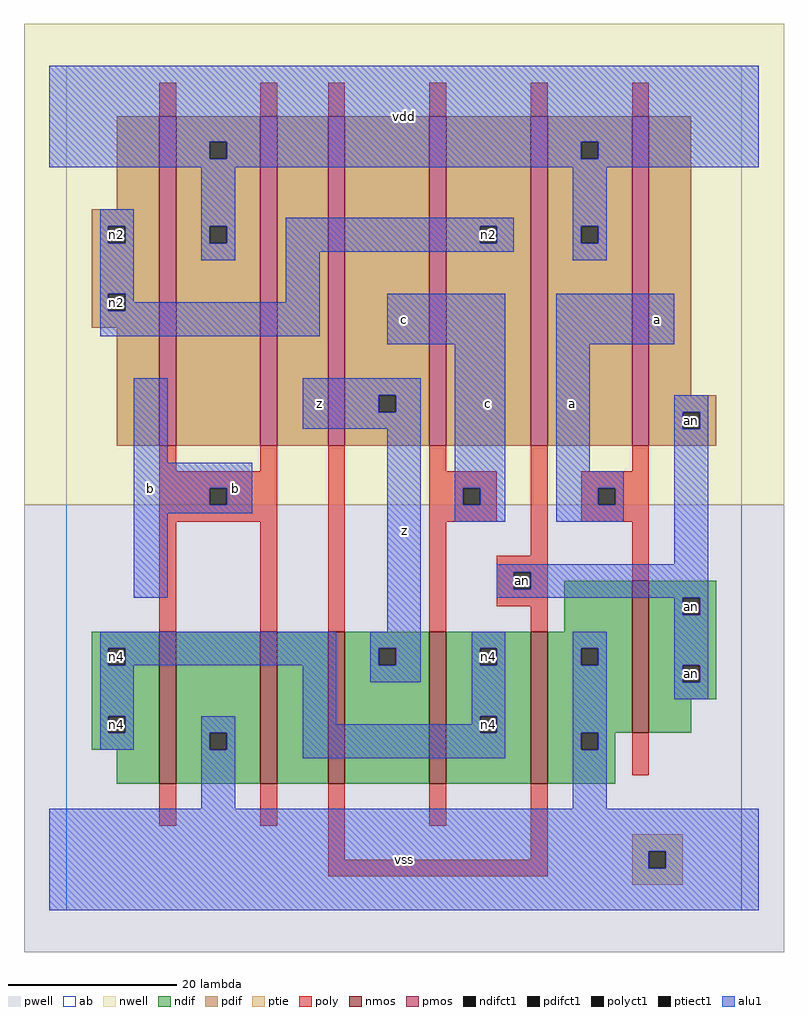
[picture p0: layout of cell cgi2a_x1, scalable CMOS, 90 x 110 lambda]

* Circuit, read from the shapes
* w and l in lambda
.subckt cgi2a_x1 a an b c n2 n4 vdd vss z
M1 vss b n4 vss nfet w=18 l=2
M2 n1 b vss vss nfet w=18 l=2
M3 z an n1 vss nfet w=18 l=2
M4 n4 c z vss nfet w=18 l=2
M5 vss an n4 vss nfet w=18 l=2
M6 an a vss vss nfet w=18 l=2
M7 vdd b n2 n3 pfet w=39 l=2
M8 n5 b vdd n3 pfet w=39 l=2
M9 z an n5 n3 pfet w=39 l=2
M10 n2 c z n3 pfet w=39 l=2
M11 vdd an n2 n3 pfet w=39 l=2
M12 an a vdd n3 pfet w=39 l=2
.ends

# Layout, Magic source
magic
tech scmos
<< ab >>
rect 0 0 80 100
<< nwell >>
rect -5 48 85 105
<< pwell >>
rect -5 -5 85 48
<< poly >>
rect 11 94 13 98
rect 23 94 25 98
rect 31 94 33 98
rect 43 94 45 98
rect 55 94 57 98
rect 67 94 69 98
rect 11 52 13 55
rect 23 52 25 55
rect 11 50 25 52
rect 11 48 17 50
rect 19 48 25 50
rect 11 46 25 48
rect 11 33 13 46
rect 23 33 25 46
rect 31 33 33 55
rect 43 52 45 55
rect 43 50 51 52
rect 43 48 47 50
rect 49 48 51 50
rect 43 46 51 48
rect 43 33 45 46
rect 55 42 57 55
rect 67 52 69 55
rect 61 50 69 52
rect 61 48 63 50
rect 65 48 69 50
rect 61 46 69 48
rect 51 40 57 42
rect 51 38 53 40
rect 55 38 57 40
rect 67 39 69 46
rect 51 36 57 38
rect 55 33 57 36
rect 67 16 69 21
rect 11 10 13 15
rect 23 10 25 15
rect 31 6 33 15
rect 43 10 45 15
rect 55 6 57 15
rect 31 4 57 6
<< ndif >>
rect 59 33 67 39
rect 3 31 11 33
rect 3 29 5 31
rect 7 29 11 31
rect 3 23 11 29
rect 3 21 5 23
rect 7 21 11 23
rect 3 19 11 21
rect 6 15 11 19
rect 13 21 23 33
rect 13 19 17 21
rect 19 19 23 21
rect 13 15 23 19
rect 25 15 31 33
rect 33 31 43 33
rect 33 29 37 31
rect 39 29 43 31
rect 33 15 43 29
rect 45 31 55 33
rect 45 29 49 31
rect 51 29 55 31
rect 45 23 55 29
rect 45 21 49 23
rect 51 21 55 23
rect 45 15 55 21
rect 57 31 67 33
rect 57 29 61 31
rect 63 29 67 31
rect 57 21 67 29
rect 69 37 77 39
rect 69 35 73 37
rect 75 35 77 37
rect 69 29 77 35
rect 69 27 73 29
rect 75 27 77 29
rect 69 25 77 27
rect 69 21 74 25
rect 57 19 61 21
rect 63 19 65 21
rect 57 15 65 19
<< pdif >>
rect 6 83 11 94
rect 3 81 11 83
rect 3 79 5 81
rect 7 79 11 81
rect 3 73 11 79
rect 3 71 5 73
rect 7 71 11 73
rect 3 69 11 71
rect 6 55 11 69
rect 13 91 23 94
rect 13 89 17 91
rect 19 89 23 91
rect 13 81 23 89
rect 13 79 17 81
rect 19 79 23 81
rect 13 55 23 79
rect 25 55 31 94
rect 33 61 43 94
rect 33 59 37 61
rect 39 59 43 61
rect 33 55 43 59
rect 45 81 55 94
rect 45 79 49 81
rect 51 79 55 81
rect 45 55 55 79
rect 57 91 67 94
rect 57 89 61 91
rect 63 89 67 91
rect 57 81 67 89
rect 57 79 61 81
rect 63 79 67 81
rect 57 55 67 79
rect 69 61 74 94
rect 69 59 77 61
rect 69 57 73 59
rect 75 57 77 59
rect 69 55 77 57
<< alu1 >>
rect -2 91 82 100
rect -2 89 17 91
rect 19 89 61 91
rect 63 89 82 91
rect -2 88 82 89
rect 4 81 8 83
rect 4 79 5 81
rect 7 79 8 81
rect 4 73 8 79
rect 16 81 20 88
rect 16 79 17 81
rect 19 79 20 81
rect 16 77 20 79
rect 26 81 53 82
rect 26 79 49 81
rect 51 79 53 81
rect 26 78 53 79
rect 60 81 64 88
rect 60 79 61 81
rect 63 79 64 81
rect 4 71 5 73
rect 7 72 8 73
rect 26 72 30 78
rect 60 77 64 79
rect 7 71 30 72
rect 4 68 30 71
rect 38 67 52 73
rect 8 53 12 63
rect 28 61 42 63
rect 28 59 37 61
rect 39 59 42 61
rect 28 57 42 59
rect 8 50 22 53
rect 8 48 17 50
rect 19 48 22 50
rect 8 47 22 48
rect 8 37 12 47
rect 38 33 42 57
rect 46 50 52 67
rect 46 48 47 50
rect 49 48 52 50
rect 46 46 52 48
rect 58 67 72 73
rect 58 52 62 67
rect 72 59 76 61
rect 72 57 73 59
rect 75 57 76 59
rect 58 50 66 52
rect 58 48 63 50
rect 65 48 66 50
rect 58 46 66 48
rect 72 41 76 57
rect 51 40 76 41
rect 51 38 53 40
rect 55 38 76 40
rect 51 37 76 38
rect 72 35 73 37
rect 75 35 76 37
rect 4 31 32 33
rect 4 29 5 31
rect 7 29 32 31
rect 4 23 8 29
rect 4 21 5 23
rect 7 21 8 23
rect 4 19 8 21
rect 16 21 20 23
rect 16 19 17 21
rect 19 19 20 21
rect 16 12 20 19
rect 28 22 32 29
rect 36 31 42 33
rect 36 29 37 31
rect 39 29 42 31
rect 36 27 42 29
rect 48 31 52 33
rect 48 29 49 31
rect 51 29 52 31
rect 48 23 52 29
rect 48 22 49 23
rect 28 21 49 22
rect 51 21 52 23
rect 28 18 52 21
rect 60 31 64 33
rect 60 29 61 31
rect 63 29 64 31
rect 60 21 64 29
rect 72 29 76 35
rect 72 27 73 29
rect 75 27 76 29
rect 72 25 76 27
rect 60 19 61 21
rect 63 19 64 21
rect 60 12 64 19
rect -2 7 82 12
rect -2 5 69 7
rect 71 5 82 7
rect -2 0 82 5
<< ptie >>
rect 67 7 73 9
rect 67 5 69 7
rect 71 5 73 7
rect 67 3 73 5
<< nmos >>
rect 11 15 13 33
rect 23 15 25 33
rect 31 15 33 33
rect 43 15 45 33
rect 55 15 57 33
rect 67 21 69 39
<< pmos >>
rect 11 55 13 94
rect 23 55 25 94
rect 31 55 33 94
rect 43 55 45 94
rect 55 55 57 94
rect 67 55 69 94
<< polyct1 >>
rect 17 48 19 50
rect 47 48 49 50
rect 63 48 65 50
rect 53 38 55 40
<< ndifct1 >>
rect 5 29 7 31
rect 5 21 7 23
rect 17 19 19 21
rect 37 29 39 31
rect 49 29 51 31
rect 49 21 51 23
rect 61 29 63 31
rect 73 35 75 37
rect 73 27 75 29
rect 61 19 63 21
<< ptiect1 >>
rect 69 5 71 7
<< pdifct1 >>
rect 5 79 7 81
rect 5 71 7 73
rect 17 89 19 91
rect 17 79 19 81
rect 37 59 39 61
rect 49 79 51 81
rect 61 89 63 91
rect 61 79 63 81
rect 73 57 75 59
<< labels >>
rlabel ndifct1 6 22 6 22 6 n4
rlabel ndifct1 6 30 6 30 6 n4
rlabel pdifct1 6 72 6 72 6 n2
rlabel pdifct1 6 80 6 80 6 n2
rlabel ndifct1 50 22 50 22 6 n4
rlabel ndifct1 50 30 50 30 6 n4
rlabel polyct1 54 39 54 39 6 an
rlabel pdifct1 50 80 50 80 6 n2
rlabel ndifct1 74 28 74 28 6 an
rlabel ndifct1 74 36 74 36 6 an
rlabel pdifct1 74 58 74 58 6 an
rlabel alu1 10 50 10 50 6 b
rlabel alu1 20 50 20 50 6 b
rlabel alu1 30 60 30 60 6 z
rlabel alu1 40 6 40 6 6 vss
rlabel alu1 40 45 40 45 6 z
rlabel alu1 40 70 40 70 6 c
rlabel alu1 50 60 50 60 6 c
rlabel alu1 40 94 40 94 6 vdd
rlabel alu1 60 60 60 60 6 a
rlabel alu1 70 70 70 70 6 a
<< end >>
